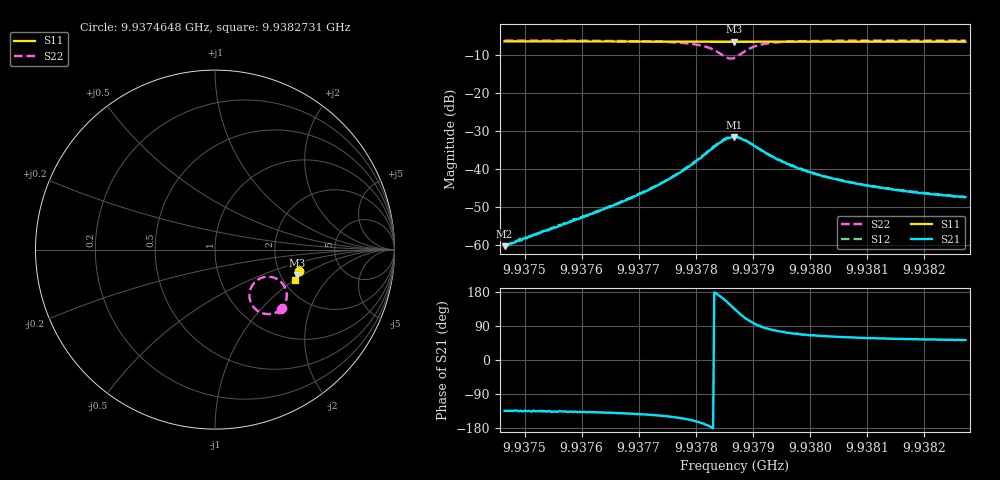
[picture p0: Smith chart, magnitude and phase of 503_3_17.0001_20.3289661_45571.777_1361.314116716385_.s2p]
#  HZ  S  RI  R  50.00
! Rohde & Schwarz Vector Network Analyzer
! Rohde-Schwarz,ZNB20-2Port,1311601062101988,3.16
! Created: UTC 3/20/2024, 11:14:41 PM
! freq[Hz]  re:S11  im:S11  re:S21  im:S21  re:S12  im:S12  re:S22  im:S22
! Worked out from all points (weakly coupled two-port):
!   401 points, 9.9374648 GHz to 9.9382731 GHz, reference 50 ohm
!   highest |S21| = -31.52 dB at 9.9378669 GHz (marker M1); lowest = -60.2 dB at 9.9374648 GHz (marker M2)
!   lowest |S11| = -6.4 dB at 9.9378669 GHz (marker M3), VSWR 2.83, Z = 122 - j45.4 ohm
!   |S11| at or under -10 dB: nowhere
!   |S22| runs from -10.8 to -6.1 dB; largest |S21 - S12| = 0.0012
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9.93746484e9  0.468 -0.1193  -0.000677 -0.000699  -0.000686 -0.000721  0.373 -0.328
9.93760022e9  0.4648 -0.1285  -0.00171 -0.00156  -0.00174 -0.00158  0.3575 -0.34
9.93766083e9  0.4633 -0.1324  -0.00265 -0.00223  -0.00275 -0.00221  0.3459 -0.3466
9.93773559e9  0.4614 -0.1376  -0.00525 -0.00345  -0.00537 -0.00342  0.3199 -0.3565
9.93777803e9  0.46 -0.1405  -0.00869 -0.00416  -0.00895 -0.00408  0.2895 -0.3589
9.93780025e9  0.459 -0.142  -0.012 -0.00395  -0.0123 -0.00384  0.2627 -0.3538
9.93781844e9  0.4582 -0.143  -0.0159 -0.00242  -0.0163 -0.00222  0.2321 -0.3373
9.93783258e9  0.4573 -0.1436  -0.0197 0.000636  -0.0202 0.00101  0.2062 -0.3079
9.93784673e9  0.4565 -0.144  -0.0226 0.00646  -0.0228 0.00746  0.1919 -0.2558
9.93785885e9  0.4561 -0.1439  -0.0219 0.0138  -0.0221 0.0148  0.2078 -0.1997
9.93786693e9  0.456 -0.1437  -0.0192 0.0184  -0.0189 0.0193  0.2369 -0.1692
9.93786895e9  0.456 -0.1438  -0.0183 0.0192  -0.0178 0.0201  0.246 -0.1639
9.93787905e9  0.4565 -0.1439  -0.0127 0.0222  -0.0122 0.0227  0.2935 -0.151
9.9378932e9  0.4567 -0.1448  -0.00553 0.0219  -0.00502 0.0222  0.3482 -0.1651
9.93791543e9  0.4572 -0.1466  0.000885 0.0177  0.00115 0.0179  0.3885 -0.2075
9.93793967e9  0.4569 -0.1485  0.00289 0.0137  0.00328 0.0139  0.3995 -0.2438
9.93796392e9  0.4564 -0.1503  0.00371 0.0109  0.00395 0.0109  0.3994 -0.2672
9.93800433e9  0.4555 -0.1533  0.00391 0.00819  0.00395 0.00813  0.3942 -0.291
9.93805889e9  0.4541 -0.157  0.00344 0.00606  0.00365 0.00612  0.3864 -0.3087
9.93813971e9  0.4521 -0.1623  0.00306 0.00459  0.00319 0.00459  0.3767 -0.3235
9.93819629e9  0.4504 -0.1659  0.00281 0.00395  0.00293 0.00395  0.3714 -0.3306
9.93827307e9  0.4482 -0.1711  0.00261 0.00341  0.00267 0.0034  0.3646 -0.3382
